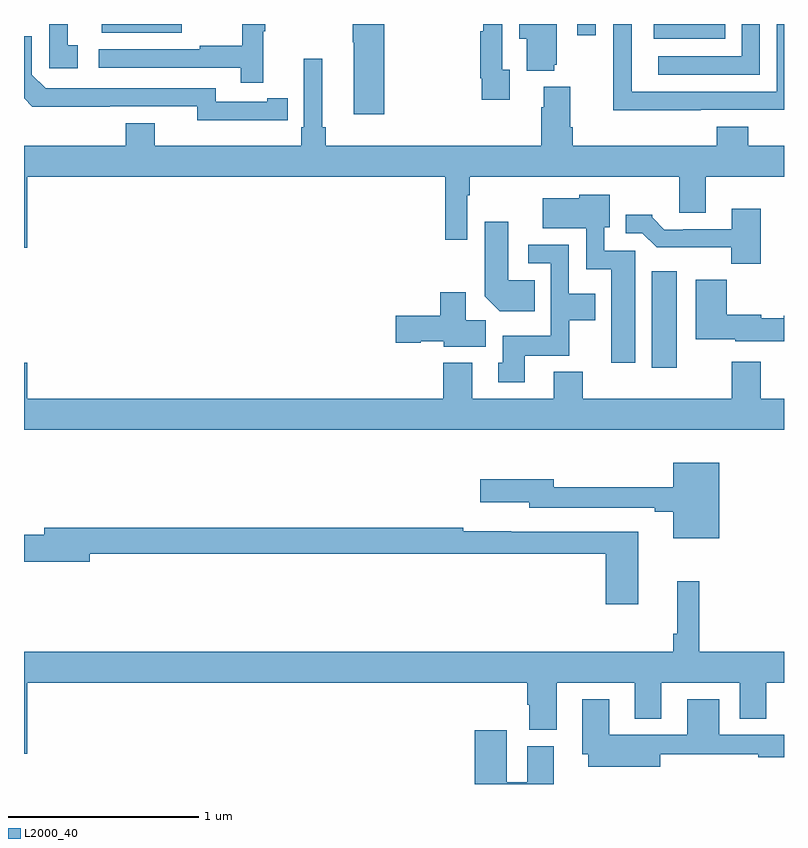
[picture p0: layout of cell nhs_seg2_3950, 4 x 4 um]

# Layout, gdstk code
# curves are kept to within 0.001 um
import gdstk
lib = gdstk.Library(unit=1e-6, precision=1e-09)
def R(c, l, rs):  # rectangles x0, y0, x1, y1
    for r in rs: c.add(gdstk.rectangle(r[:2], r[2:], *l))
def P(c, l, *ps):  # polygons
    for p in ps: c.add(gdstk.Polygon(p, *l))
L2000_40 = (2000, 40)

nhs_seg2_3950 = lib.new_cell('nhs_seg2_3950')
R(nhs_seg2_3950, L2000_40, [(324.305,619.992,324.436,620.5), (324.314,621.722,324.692,621.8), (323.913,621.741,324.009,621.8), (321.41,621.755,321.829,621.8)])
P(nhs_seg2_3950, L2000_40, [(324.873,621.8),(324.777,621.8),(324.777,621.63),(324.339,621.63),(324.339,621.534),(324.873,621.534)],
  [(322.895,621.8),(322.729,621.8),(322.729,621.703),(322.736,621.703),(322.736,621.324),(322.895,621.324)],
  [(322.259,621.763),(322.27,621.763),(322.27,621.8),(322.149,621.8),(322.149,621.686),(321.925,621.686),(321.925,621.666),(321.393,621.666),(321.393,621.57),(322.141,621.57),(322.141,621.492),(322.259,621.492)],
  [(323.792,621.585),(323.803,621.585),(323.803,621.8),(323.606,621.8),(323.606,621.722),(323.645,621.722),(323.645,621.554),(323.792,621.554)],
  [(323.557,621.558),(323.517,621.558),(323.517,621.8),(323.416,621.8),(323.416,621.761),(323.401,621.761),(323.401,621.514),(323.409,621.514),(323.409,621.402),(323.557,621.402)],
  [(324.563,621.348),(325,621.348),(325,621.8),(324.963,621.8),(324.963,621.444),(324.198,621.444),(324.198,621.8),(324.102,621.8),(324.102,621.653),(324.1,621.653),(324.1,621.347),(324.563,621.347)],
  [(321.283,621.687),(321.23,621.687),(321.23,621.8),(321.132,621.8),(321.132,621.567),(321.283,621.567)],
  [(322.28,621.294),(322.388,621.294),(322.388,621.41),(322.28,621.41),(322.28,621.39),(322.008,621.39),(322.008,621.462),(321.114,621.462),(321.042,621.534),(321.042,621.735),(321,621.735),(321,621.409),(321.044,621.365),(321.912,621.366),(321.912,621.293)],
  [(321.016,620.996),(323.218,620.996),(323.218,620.664),(323.334,620.664),(323.334,620.9),(323.347,620.9),(323.347,620.996),(324.449,620.996),(324.449,620.806),(324.589,620.806),(324.589,620.996),(325,620.996),(325,621.16),(324.812,621.16),(324.812,621.259),(324.647,621.259),(324.647,621.16),(323.888,621.16),(323.888,621.256),(323.875,621.256),(323.875,621.469),(323.735,621.469),(323.735,621.362),(323.723,621.362),(323.723,621.16),(322.589,621.16),(322.589,621.256),(322.57,621.256),(322.57,621.616),(322.473,621.616),(322.473,621.256),(322.46,621.256),(322.46,621.16),(321.688,621.16),(321.688,621.277),(321.536,621.277),(321.536,621.16),(321,621.16),(321,620.622),(321.016,620.622)],
  [(324.217,620.607),(324.054,620.607),(324.054,620.73),(324.082,620.73),(324.082,620.902),(323.922,620.902),(323.922,620.884),(323.73,620.884),(323.73,620.726),(323.958,620.726),(323.958,620.51),(324.092,620.51),(324.092,620.016),(324.217,620.016)],
  [(324.878,620.827),(324.725,620.827),(324.725,620.721),(324.469,620.721),(324.469,620.718),(324.37,620.718),(324.306,620.782),(324.306,620.797),(324.167,620.797),(324.167,620.7),(324.255,620.7),(324.331,620.624),(324.723,620.624),(324.723,620.537),(324.878,620.537)],
  [(323.687,620.452),(323.548,620.452),(323.548,620.758),(323.426,620.758),(323.426,620.366),(323.504,620.288),(323.687,620.288)],
  [(323.635,620.054),(323.871,620.054),(323.871,620.24),(324.007,620.24),(324.007,620.38),(323.868,620.38),(323.868,620.637),(323.655,620.637),(323.655,620.541),(323.772,620.541),(323.772,620.158),(323.519,620.158),(323.519,620.016),(323.495,620.016),(323.495,619.914),(323.635,619.914)],
  [(325,620.264),(324.998,620.264),(324.998,620.251),(324.879,620.251),(324.879,620.269),(324.698,620.269),(324.698,620.455),(324.536,620.455),(324.536,620.141),(324.744,620.141),(324.744,620.129),(325,620.129)],
  [(323.431,620.24),(323.326,620.24),(323.326,620.389),(323.192,620.389),(323.192,620.264),(322.956,620.264),(322.956,620.122),(323.088,620.122),(323.088,620.129),(323.208,620.129),(323.208,620.102),(323.431,620.102)],
  [(325,619.828),(324.878,619.828),(324.878,620.023),(324.725,620.023),(324.725,619.828),(323.942,619.828),(323.942,619.969),(323.789,619.969),(323.789,619.828),(323.359,619.828),(323.359,620.017),(323.207,620.017),(323.207,619.828),(321.016,619.828),(321.016,620.017),(321,620.017),(321,619.664),(325,619.664)],
  [(324.658,619.492),(324.416,619.492),(324.416,619.363),(323.788,619.363),(323.788,619.405),(323.4,619.405),(323.4,619.283),(323.66,619.283),(323.66,619.254),(324.32,619.254),(324.32,619.234),(324.416,619.234),(324.416,619.094),(324.658,619.094)],
  [(324.232,619.128),(323.564,619.128),(323.564,619.129),(323.312,619.129),(323.312,619.148),(321.107,619.148),(321.107,619.112),(321,619.112),(321,618.97),(321.346,618.97),(321.346,619.012),(324.062,619.012),(324.062,618.747),(324.232,618.747)],
  [(321.016,618.332),(323.648,618.332),(323.648,618.216),(323.66,618.216),(323.66,618.085),(323.803,618.085),(323.803,618.332),(324.215,618.332),(324.215,618.143),(324.355,618.143),(324.355,618.332),(324.767,618.332),(324.767,618.143),(324.907,618.143),(324.907,618.332),(325,618.332),(325,618.496),(324.554,618.496),(324.554,618.868),(324.437,618.868),(324.437,618.592),(324.418,618.592),(324.418,618.496),(321,618.496),(321,617.958),(321.016,617.958)],
  [(324.349,617.957),(324.865,617.957),(324.865,617.94),(325,617.94),(325,618.058),(324.658,618.058),(324.658,618.247),(324.491,618.247),(324.491,618.058),(324.079,618.058),(324.079,618.247),(323.939,618.247),(323.939,617.957),(323.969,617.957),(323.969,617.891),(324.349,617.891)],
  [(323.788,618),(323.648,618),(323.648,617.809),(323.542,617.809),(323.542,618.082),(323.372,618.082),(323.372,617.8),(323.788,617.8)])

lib.write_gds('nhs_seg2_3950.gds')
